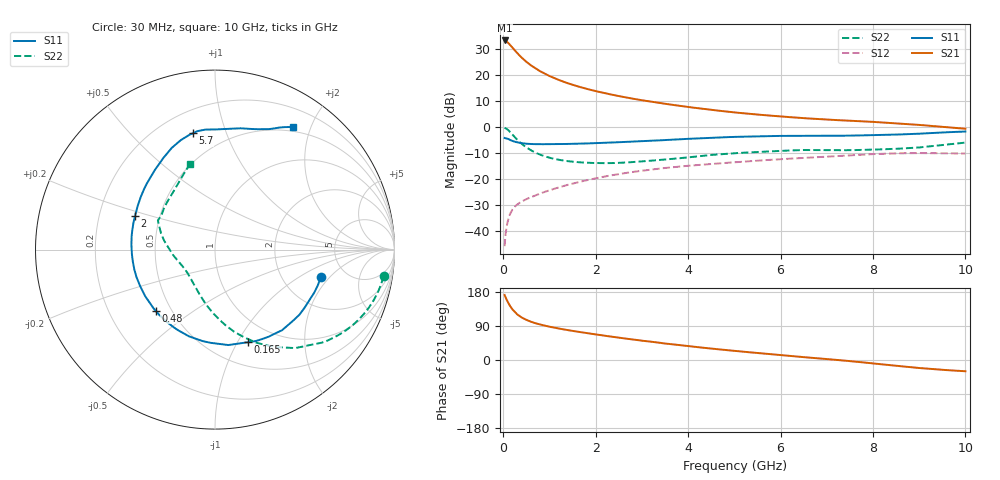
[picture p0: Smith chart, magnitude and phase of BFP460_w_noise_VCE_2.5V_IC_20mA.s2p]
! (c) 2016  Infineon Technologies AG, Munich
! Infineon Technologies  Discrete & RF Semiconductors
! BFP460
! VCE =  2.5 V,  IC =  20 mA
! Common Emitter S-Parameters:  Jan 2016
# GHz  S  MA  R  50
!  f  S11  S21  S12  S22
! GHz  MAG  ANG  MAG  ANG  MAG  ANG  MAG  ANG
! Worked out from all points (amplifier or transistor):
!   229 points, 30 MHz to 10 GHz, reference 50 ohm
!   highest |S21| = 33.1 dB at 30 MHz (marker M1)
!   |S21| within 3 dB of that: start of sweep to 211.9 MHz
!   unconditionally stable (mu >= 1): 1.792 GHz to 7.808 GHz
!   at 280 MHz: K = 0.42, MSG = 29.5 dB, |S12| = -30.2 dB
!   at 1.78 GHz: K = 1.00, MSG = 17.6 dB, |S12| = -20.6 dB
!   at 10 GHz: K = 0.98, MSG = 4.8 dB, |S12| = -10.3 dB
!   lowest NFmin = 1.24 dB at 450 MHz
!   S11 on the Smith chart (normalised r, x): 30 MHz: 3.29, -1.59; 165 MHz: 0.75, -1.10; 480 MHz: 0.41, -0.36; 2 GHz: 0.36, +0.18; 5.7 GHz: 0.34, +0.77; 10 GHz: 0.44, +1.74
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0.03  0.6091 -14.4  45.36 171.5  0.0051 85.0  0.951 -9.0
0.05  0.6026 -23.5  44.3 165.3  0.0086 80.0  0.9374 -14.9
0.09  0.5885 -42.2  42.02 155.2  0.0143 72.9  0.8881 -26.4
0.12  0.5749 -54.4  39.62 148.3  0.018 68.6  0.8415 -34.0
0.165  0.5474 -70.5  35.77 139.7  0.0226 63.2  0.7628 -43.7
0.2  0.537 -82.0  33.03 133.5  0.0258 60.1  0.7071 -50.9
0.24  0.52 -92.7  30.03 128.0  0.0285 57.2  0.6465 -57.2
0.3  0.5046 -106.6  26.17 120.7  0.032 54.5  0.5686 -65.9
0.4  0.4842 -123.9  21.21 112.1  0.0367 52.4  0.4706 -76.8
0.48  0.4746 -134.2  18.32 107.1  0.0399 52.0  0.4143 -83.4
0.6  0.4676 -146.3  15.08 100.9  0.0445 52.3  0.3532 -91.9
0.7  0.464 -154.1  13.13 96.9  0.0483 52.8  0.3175 -97.8
0.92  0.4626 -167.0  10.21 90.0  0.057 54.0  0.2669 -108.2
1.3  0.4664 177.3  7.333 80.9  0.0727 54.9  0.2249 -121.9
1.7  0.4747 165.0  5.661 73.0  0.0897 54.3  0.2066 -132.8
2  0.4839 157.0  4.836 67.5  0.1025 53.1  0.2011 -140.0
3.4  0.5495 128.8  2.846 45.2  0.1578 43.3  0.2309 -170.8
5.1  0.6421 106.3  1.849 22.9  0.2109 31.1  0.3143 163.2
5.7  0.6598 100.9  1.657 16.3  0.2296 26.7  0.3339 157.9
6.8  0.6695 91.7  1.408 4.6  0.2607 18.9  0.3562 151.8
8.4  0.7029 72.9  1.179 -14.0  0.307 4.9  0.3742 136.0
10  0.8103 57.5  0.916 -29.7  0.3067 -7.7  0.4964 106.4
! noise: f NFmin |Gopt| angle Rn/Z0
0.45  1.24  0.07  -176  0.13
0.9  1.26  0.04  175  0.15
1.9  1.38  0.18  -150  0.12
3.5  1.34  0.41  -125  0.15
